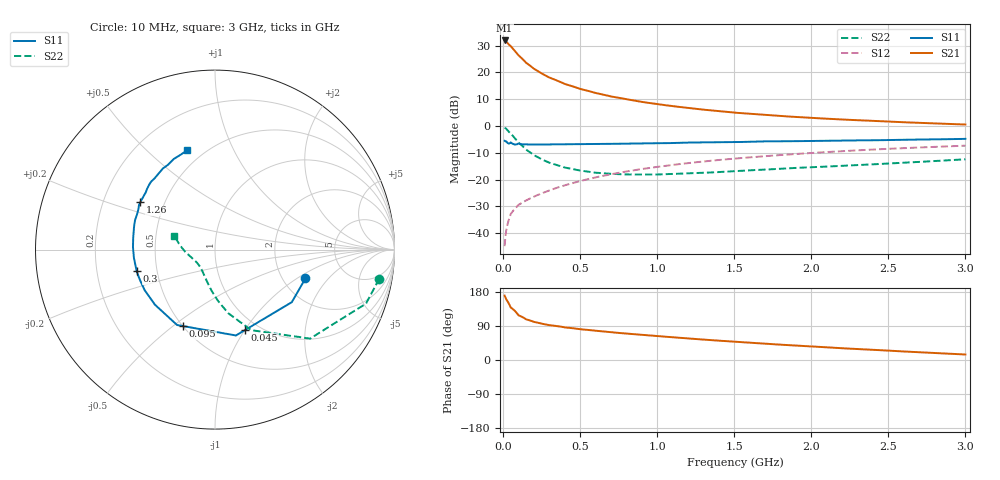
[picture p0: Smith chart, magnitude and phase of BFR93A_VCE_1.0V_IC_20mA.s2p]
! Infineon Technologies  Discrete & RF Semiconductors
! BFR93A
! VCE =  1.0 V,  IC =  20 mA
! Common Emitter S-Parameters:  Nov 2015
# GHz  S  MA  R  50
!  f  S11  S21  S12  S22
! GHz  MAG  ANG  MAG  ANG  MAG  ANG  MAG  ANG
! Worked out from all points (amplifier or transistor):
!   180 points, 10 MHz to 3 GHz, reference 50 ohm
!   highest |S21| = 31.9 dB at 10 MHz (marker M1)
!   |S21| within 3 dB of that: start of sweep to 63.18 MHz
!   unconditionally stable (mu >= 1): 368.5 MHz to end of sweep
!   at 160 MHz: K = 0.74, MSG = 25.3 dB, |S12| = -27.5 dB
!   at 1.22 GHz: K = 1.10, MAG = 8.3 dB, |S12| = -13.7 dB
!   at 3 GHz: K = 1.03, MAG = 2.9 dB, |S12| = -7.4 dB
!   S11 on the Smith chart (normalised r, x): 10 MHz: 2.65, -1.18; 45 MHz: 0.86, -1.00; 95 MHz: 0.50, -0.54; 300 MHz: 0.38, -0.12; 1.26 GHz: 0.36, +0.25; 3 GHz: 0.41, +0.68
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0.01  0.5289 -17.7  39.54 169.9  0.0057 81.8  0.9295 -10.1
0.02  0.5185 -34.4  37.98 160.7  0.0111 75.6  0.8934 -19.7
0.045  0.4782 -69.4  31.72 142.8  0.0208 64.6  0.7438 -38.5
0.05  0.4925 -76.3  30.92 138.5  0.0228 63.5  0.7257 -43.1
0.095  0.4619 -112.7  21.73 120.9  0.0325 56.7  0.5106 -62.7
0.1  0.4703 -116.7  20.89 118.0  0.0336 56.2  0.4921 -65.8
0.15  0.4541 -137.5  15.11 107.2  0.0408 56.0  0.3615 -78.3
0.2  0.4524 -150.0  11.73 100.6  0.0479 58.3  0.2856 -86.7
0.24  0.4509 -157.0  9.977 96.9  0.0537 59.6  0.2475 -91.9
0.26  0.4514 -159.9  9.241 95.1  0.0566 60.3  0.2318 -94.5
0.3  0.4527 -164.5  8.034 92.0  0.0625 61.6  0.2063 -99.0
0.4  0.4541 -174.1  6.104 86.1  0.078 63.8  0.1677 -108.6
0.52  0.4574 177.2  4.772 80.6  0.0967 64.5  0.1444 -117.5
0.6  0.4598 172.9  4.142 77.2  0.1096 64.7  0.1343 -123.4
0.7  0.4633 168.4  3.567 73.2  0.1254 64.4  0.1279 -129.6
0.82  0.4696 163.4  3.082 69.0  0.1444 63.6  0.1243 -136.9
1.02  0.4766 155.7  2.514 62.5  0.1753 61.5  0.1248 -146.5
1.26  0.4926 147.7  2.08 55.1  0.2115 58.5  0.1322 -156.6
1.52  0.5007 140.3  1.759 47.8  0.2485 55.1  0.1444 -165.3
2.02  0.5261 127.3  1.407 35.4  0.3159 48.1  0.1705 -177.6
2.52  0.5485 116.3  1.203 24.3  0.377 40.5  0.2004 171.6
3  0.5747 105.5  1.065 14.5  0.4288 33.2  0.2387 161.0
